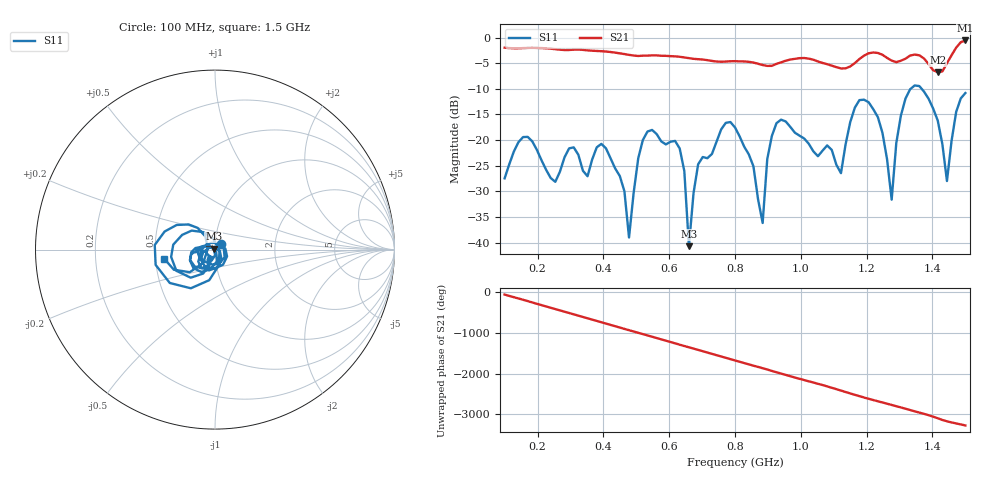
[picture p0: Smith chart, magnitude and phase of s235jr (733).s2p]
! NanoVNA-App
! Date: 2025-09-25 15:09:52
! Start: 100MHz Stop: 1,5GHz Points: 101
! S-Parameter data: F S11 S21 S12 S22
# Hz S RI R 50
!  Frequency  S11_Real  S11_Imag  S21_Real  S21_Imag  S12_Real  S12_Imag  S22_Real  S22_Imag
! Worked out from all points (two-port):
!   101 points, 100 MHz to 1.5 GHz, reference 50 ohm
!   highest |S21| = -0.55 dB at 1.5 GHz (marker M1); lowest = -6.7 dB at 1.416 GHz (marker M2)
!   |S21| within 3 dB of the highest: start of sweep to 500.6 MHz; 513.1 MHz to 587 MHz (73.96 MHz wide, 13.4 % of centre) (the widest 2 of 5)
!   lowest |S11| = -40.7 dB at 660 MHz (marker M3), VSWR 1.02, Z = 49.3 + j0.548 ohm
!   |S11| at or under -10 dB: start of sweep to 1.334 GHz; 1.367 GHz to end of sweep
!   S12 and S22 are empty: the file has one direction only
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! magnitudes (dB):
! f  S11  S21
! 100 MHz  -27.5  -2.0
! 156 MHz  -19.4  -2.0
! 338 MHz  -26.0  -2.4
! 408 MHz  -21.6  -2.7
! 478 MHz  -39.0  -3.4
! 520 MHz  -20.0  -3.5
! 576 MHz  -20.3  -3.5
! 632 MHz  -21.6  -3.7
! 660 MHz  -40.7  -4.0
! 688 MHz  -24.7  -4.2
! 800 MHz  -17.5  -4.6
! 884 MHz  -36.2  -5.3
! 898 MHz  -23.7  -5.5
! 926 MHz  -16.7  -5.1
! 1.038 GHz  -22.2  -4.3
! 1.122 GHz  -26.5  -6.0
! 1.206 GHz  -12.6  -3.1
! 1.276 GHz  -31.6  -4.5
! 1.332 GHz  -10.1  -3.5
! 1.416 GHz  -16.2  -6.7
! 1.444 GHz  -28.0  -5.0
! 1.5 GHz  -10.8  -0.6
